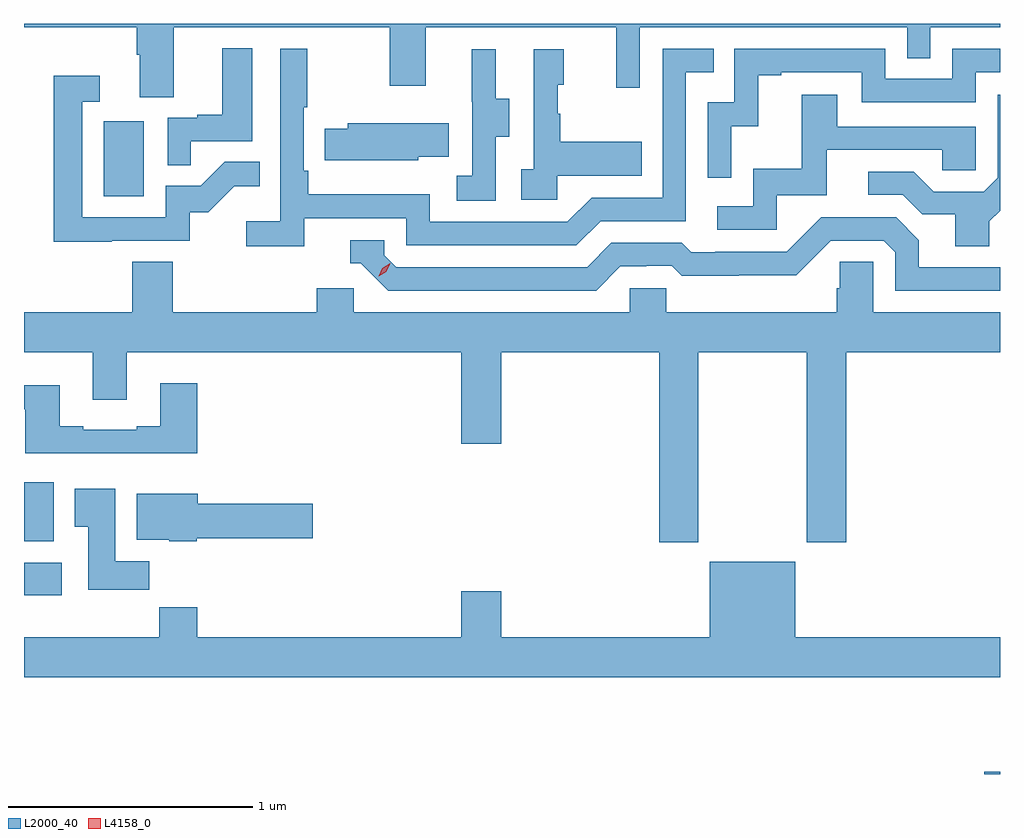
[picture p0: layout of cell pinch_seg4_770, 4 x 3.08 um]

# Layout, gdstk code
import gdstk
lib = gdstk.Library(unit=1e-6, precision=1e-09)
def R(c, l, rs):  # rectangles x0, y0, x1, y1
    for r in rs: c.add(gdstk.rectangle(r[:2], r[2:], *l))
def P(c, l, *ps):  # polygons
    for p in ps: c.add(gdstk.Polygon(p, *l))
L2000_40 = (2000, 40)
L4158_0 = (4158, 0)

pinch_seg4_770 = lib.new_cell('pinch_seg4_770')
R(pinch_seg4_770, L2000_40, [(826.493,829.722,826.557,829.732), (822.557,830.456,822.712,830.59), (822.557,830.678,822.679,830.92), (822.884,832.092,823.048,832.399)])
P(pinch_seg4_770, L2000_40, [(822.557,832.784),(823.019,832.784),(823.019,832.672),(823.031,832.672),(823.031,832.498),(823.171,832.498),(823.171,832.784),(824.056,832.784),(824.056,832.545),(824.203,832.545),(824.203,832.784),(824.984,832.784),(824.984,832.536),(825.081,832.536),(825.081,832.784),(826.176,832.784),(826.176,832.657),(826.272,832.657),(826.272,832.784),(826.557,832.784),(826.557,832.799),(822.557,832.799)],
  [(823.241,832.317),(823.492,832.317),(823.492,832.699),(823.37,832.699),(823.37,832.426),(823.267,832.426),(823.267,832.413),(823.146,832.413),(823.146,832.219),(823.241,832.219)],
  [(823.706,832.002),(824.124,832.002),(824.124,831.891),(824.821,831.891),(824.92,831.99),(825.27,831.99),(825.27,832.599),(825.383,832.599),(825.383,832.695),(825.174,832.695),(825.174,832.086),(824.883,832.086),(824.784,831.987),(824.22,831.987),(824.22,832.099),(823.721,832.099),(823.721,832.195),(823.704,832.195),(823.704,832.456),(823.717,832.456),(823.717,832.696),(823.608,832.696),(823.608,831.988),(823.467,831.988),(823.467,831.886),(823.706,831.886)],
  [(825.456,832.379),(825.566,832.379),(825.566,832.587),(825.661,832.587),(825.661,832.599),(825.99,832.599),(825.99,832.476),(826.458,832.476),(826.458,832.599),(826.557,832.599),(826.557,832.695),(826.362,832.695),(826.362,832.572),(826.086,832.572),(826.086,832.695),(825.468,832.695),(825.468,832.476),(825.36,832.476),(825.36,832.167),(825.456,832.167)],
  [(824.49,832.336),(824.545,832.336),(824.545,832.491),(824.491,832.491),(824.491,832.693),(824.393,832.693),(824.393,832.479),(824.394,832.479),(824.394,832.175),(824.331,832.175),(824.331,832.072),(824.49,832.072)],
  [(824.742,832.175),(825.089,832.175),(825.089,832.315),(824.755,832.315),(824.755,832.43),(824.745,832.43),(824.745,832.548),(824.77,832.548),(824.77,832.693),(824.646,832.693),(824.646,832.202),(824.595,832.202),(824.595,832.077),(824.742,832.077)],
  [(822.917,831.909),(823.236,831.909),(823.236,832.026),(823.312,832.026),(823.419,832.133),(823.523,832.133),(823.523,832.232),(823.38,832.232),(823.282,832.134),(823.137,832.134),(823.137,832.005),(822.795,832.005),(822.795,832.479),(822.868,832.479),(822.868,832.585),(822.679,832.585),(822.679,831.904),(822.917,831.904)],
  [(826.513,831.988),(826.557,832.032),(826.557,832.507),(826.548,832.507),(826.548,832.167),(826.491,832.11),(826.285,832.11),(826.204,832.191),(826.017,832.191),(826.017,832.098),(826.158,832.098),(826.238,832.018),(826.373,832.018),(826.373,831.886),(826.513,831.886)],
  [(825.642,832.095),(825.847,832.095),(825.847,832.281),(826.321,832.281),(826.321,832.197),(826.458,832.197),(826.458,832.377),(825.889,832.377),(825.889,832.507),(825.745,832.507),(825.745,832.204),(825.546,832.204),(825.546,832.05),(825.399,832.05),(825.399,831.954),(825.642,831.954)],
  [(824.172,832.253),(824.297,832.253),(824.297,832.39),(823.883,832.39),(823.883,832.368),(823.789,832.368),(823.789,832.239),(823.9,832.239),(823.9,832.238),(824.172,832.238)],
  [(825.001,831.804),(825.108,831.804),(825.108,831.807),(825.211,831.807),(825.253,831.765),(825.486,831.765),(825.486,831.767),(825.722,831.767),(825.864,831.909),(826.08,831.909),(826.128,831.861),(826.128,831.705),(826.557,831.705),(826.557,831.801),(826.225,831.801),(826.225,831.911),(826.131,832.005),(825.825,832.005),(825.684,831.864),(825.391,831.864),(825.391,831.861),(825.292,831.861),(825.253,831.9),(824.964,831.9),(824.865,831.801),(824.082,831.801),(824.034,831.849),(824.034,831.912),(823.895,831.912),(823.895,831.816),(823.938,831.816),(824.049,831.705),(824.902,831.705)],
  [(825.321,831.452),(825.766,831.452),(825.766,830.673),(825.926,830.673),(825.926,831.452),(826.557,831.452),(826.557,831.616),(826.038,831.616),(826.038,831.824),(825.901,831.824),(825.901,831.714),(825.887,831.714),(825.887,831.616),(825.189,831.616),(825.189,831.714),(825.039,831.714),(825.039,831.616),(823.908,831.616),(823.908,831.714),(823.757,831.714),(823.757,831.616),(823.166,831.616),(823.166,831.824),(823.001,831.824),(823.001,831.616),(822.557,831.616),(822.557,831.452),(822.839,831.452),(822.839,831.258),(822.979,831.258),(822.979,831.452),(824.348,831.452),(824.348,831.078),(824.512,831.078),(824.512,831.452),(825.161,831.452),(825.161,830.673),(825.321,830.673)],
  [(823.268,831.325),(823.115,831.325),(823.115,831.148),(823.019,831.148),(823.019,831.135),(822.799,831.135),(822.799,831.148),(822.703,831.148),(822.703,831.316),(822.557,831.316),(822.557,831.219),(822.563,831.219),(822.563,831.038),(823.268,831.038)],
  [(823.07,830.596),(822.931,830.596),(822.931,830.893),(822.764,830.893),(822.764,830.737),(822.821,830.737),(822.821,830.478),(823.07,830.478)],
  [(823.266,830.689),(823.741,830.689),(823.741,830.831),(823.27,830.831),(823.27,830.872),(823.019,830.872),(823.019,830.684),(823.152,830.684),(823.152,830.678),(823.266,830.678)],
  [(826.557,830.284),(825.718,830.284),(825.718,830.593),(825.368,830.593),(825.368,830.284),(824.512,830.284),(824.512,830.473),(824.348,830.473),(824.348,830.284),(823.268,830.284),(823.268,830.408),(823.111,830.408),(823.111,830.284),(822.557,830.284),(822.557,830.12),(826.557,830.12)])
P(pinch_seg4_770, L4158_0, [(824.01,831.763),(824.01,831.764),(824.026,831.796),(824.057,831.816),(824.057,831.816),(824.057,831.816),(824.041,831.783),(824.01,831.763)])

lib.write_gds('pinch_seg4_770.gds')
